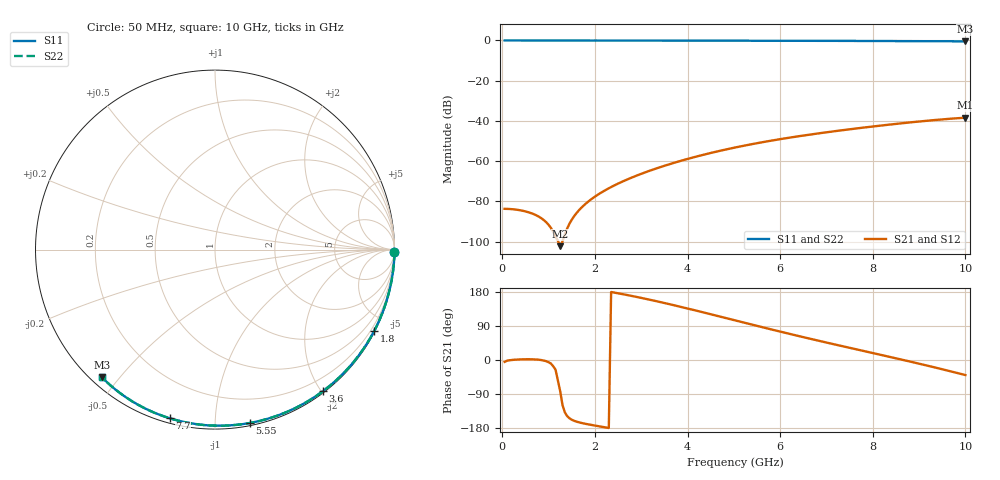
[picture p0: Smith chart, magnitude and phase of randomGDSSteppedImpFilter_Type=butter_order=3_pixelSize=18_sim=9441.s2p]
! freq	dB(S11)	phase(S11)	dB(S12)	phase(S12)
!  dB(S21)	phase(S21)	dB(S22)	phase(S22)
!S-par simulation data
#  GHz  S  DB  R 50
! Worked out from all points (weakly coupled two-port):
!   200 points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, 50 MHz to 10 GHz, reference 50 ohm
!   highest |S21| = -38.39 dB at 10 GHz (marker M1); lowest = -102.3 dB at 1.25 GHz (marker M2)
!   lowest |S11| = -0.4 dB at 10 GHz (marker M3), VSWR 39.28, Z = 1.53 - j22.5 ohm
!   |S11| at or under -10 dB: nowhere
!   |S22| runs from -0.4 to 0.0 dB; largest |S21 - S12| = 0
!   S11 on the Smith chart (normalised r, x): 50 MHz: open; 1.8 GHz: 0.04, -4.18; 3.6 GHz: 0.02, -2.02; 5.55 GHz: 0.02, -1.22; 7.7 GHz: 0.02, -0.77; 10 GHz: 0.03, -0.45
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0.05  -0.00 -0.8  -83.72 -5.0  -83.72 -5.0  -0.00 -0.8
0.65  -0.01 -9.8  -86.09 1.9  -86.09 1.9  -0.01 -9.8
1.25  -0.02 -18.8  -102.28 -82.2  -102.28 -82.2  -0.02 -18.8
1.75  -0.03 -26.2  -82.21 -167.2  -82.21 -167.2  -0.03 -26.2
1.8  -0.03 -26.9  -81.17 -168.5  -81.17 -168.5  -0.03 -26.9
1.85  -0.04 -27.7  -80.21 -169.7  -80.21 -169.7  -0.04 -27.7
2.15  -0.04 -32.1  -75.44 -176.2  -75.44 -176.2  -0.04 -32.1
2.35  -0.04 -35.0  -72.88 179.4  -72.88 179.4  -0.04 -35.0
2.55  -0.05 -37.8  -70.62 174.9  -70.62 174.9  -0.05 -37.8
2.95  -0.06 -43.6  -66.75 165.2  -66.75 165.2  -0.06 -43.6
3.4  -0.07 -49.9  -63.06 153.2  -63.06 153.2  -0.07 -49.9
3.6  -0.07 -52.7  -61.59 147.6  -61.59 147.6  -0.07 -52.7
3.9  -0.08 -56.8  -59.55 138.9  -59.55 138.9  -0.08 -56.8
4.3  -0.09 -62.2  -57.08 126.9  -57.08 126.9  -0.09 -62.2
5.05  -0.11 -72.2  -53.11 103.8  -53.11 103.8  -0.11 -72.2
5.55  -0.13 -78.7  -50.87 88.5  -50.87 88.5  -0.13 -78.7
6.1  -0.15 -85.6  -48.70 72.0  -48.70 72.0  -0.15 -85.6
6.7  -0.18 -93.1  -46.61 54.5  -46.61 54.5  -0.18 -93.1
7.7  -0.24 -105.1  -43.60 26.6  -43.60 26.6  -0.24 -105.1
8.35  -0.28 -112.7  -41.86 8.7  -41.86 8.7  -0.28 -112.7
9.25  -0.36 -123.0  -39.75 -17.0  -39.75 -17.0  -0.36 -123.0
10  -0.44 -131.4  -38.39 -39.7  -38.39 -39.7  -0.44 -131.4
